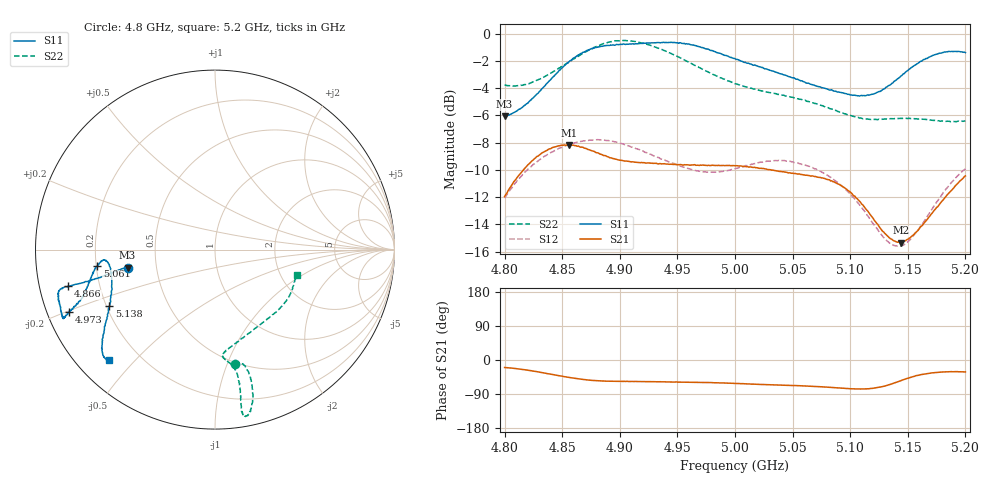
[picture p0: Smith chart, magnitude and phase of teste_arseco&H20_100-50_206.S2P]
! Network Analyzer HP8722D
! Hewlett-Packard
! Data name: Linha & Wilkinson
! Saver's name: Rodrigo Anjos
! Comments: Teste da utilização de aquisição
! continua pelo VNA HP8722D
! Time and date: 6/5/2025 14:17
!  Frequency  S11  S21  S12  S22
# HZ  S  MA R 50
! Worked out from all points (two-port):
!   401 points, 4.8 GHz to 5.2 GHz, reference 50 ohm
!   highest |S21| = -8.16 dB at 4.856 GHz (marker M1); lowest = -15.3 dB at 5.144 GHz (marker M2)
!   |S21| within 3 dB of the highest: 4.806 GHz to 5.092 GHz (286.3 MHz wide, 5.79 % of centre); 5.191428 GHz to end of sweep
!   lowest |S11| = -6.1 dB at 4.8 GHz (marker M3), VSWR 2.98, Z = 17 - j4.55 ohm
!   |S11| at or under -10 dB: nowhere
!   |S22| runs from -6.5 to -0.5 dB; largest |S21 - S12| = 0.62
!   S11 on the Smith chart (normalised r, x): 4.8 GHz: 0.34, -0.09; 4.866 GHz: 0.08, -0.12; 4.973 GHz: 0.06, -0.20; 5.061 GHz: 0.20, -0.07; 5.138 GHz: 0.21, -0.24; 5.2 GHz: 0.09, -0.42
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4.8e9  0.4971 -168.3  0.2524 -19.8  0.2493 -141.0  0.6476 -80.3
4.828e9  0.6006 -167.2  0.3542 -30.8  0.3385 -145.0  0.6753 -75.4
4.856e9  0.7904 -165.9  0.3908 -45.9  0.3918 -150.3  0.7904 -74.8
4.866e9  0.8455 -166.0  0.3831 -50.4  0.4021 -152.0  0.8377 -75.3
4.867e9  0.8484 -165.8  0.3833 -51.0  0.4027 -152.1  0.8426 -75.5
4.898e9  0.9127 -163.1  0.3447 -56.4  0.3983 -156.5  0.9427 -79.0
4.914e9  0.919 -159.8  0.3373 -56.5  0.3785 -157.1  0.9363 -80.4
4.934e9  0.9286 -156.6  0.3328 -57.6  0.3508 -155.7  0.8828 -80.5
4.951e9  0.9232 -155.6  0.3304 -58.4  0.3286 -152.7  0.8218 -80.0
4.973e9  0.8863 -156.8  0.329 -59.4  0.3105 -145.9  0.7359 -79.7
5e9  0.8101 -159.1  0.3273 -61.9  0.3197 -137.3  0.6557 -81.2
5.036e9  0.7216 -165.7  0.3135 -66.0  0.3419 -134.4  0.6018 -85.7
5.061e9  0.6626 -172.0  0.3022 -68.5  0.3289 -136.4  0.5703 -84.0
5.067e9  0.6502 -173.0  0.3007 -69.1  0.3232 -136.9  0.5576 -82.7
5.086e9  0.6156 -174.5  0.2857 -72.9  0.2909 -138.5  0.5239 -75.4
5.103e9  0.5952 -171.5  0.254 -76.1  0.2499 -138.7  0.4971 -65.2
5.119e9  0.5995 -163.7  0.2121 -75.0  0.2028 -134.0  0.4848 -53.5
5.134e9  0.6465 -154.3  0.1779 -65.1  0.1704 -120.7  0.4869 -43.3
5.138e9  0.6678 -151.7  0.1735 -61.0  0.1668 -115.5  0.4873 -40.8
5.144e9  0.6991 -148.9  0.1709 -54.5  0.1658 -107.4  0.4888 -37.4
5.174e9  0.8386 -138.5  0.2271 -33.1  0.2368 -80.4  0.4803 -24.0
5.2e9  0.8528 -133.8  0.3004 -31.5  0.3191 -77.0  0.4783 -17.5
